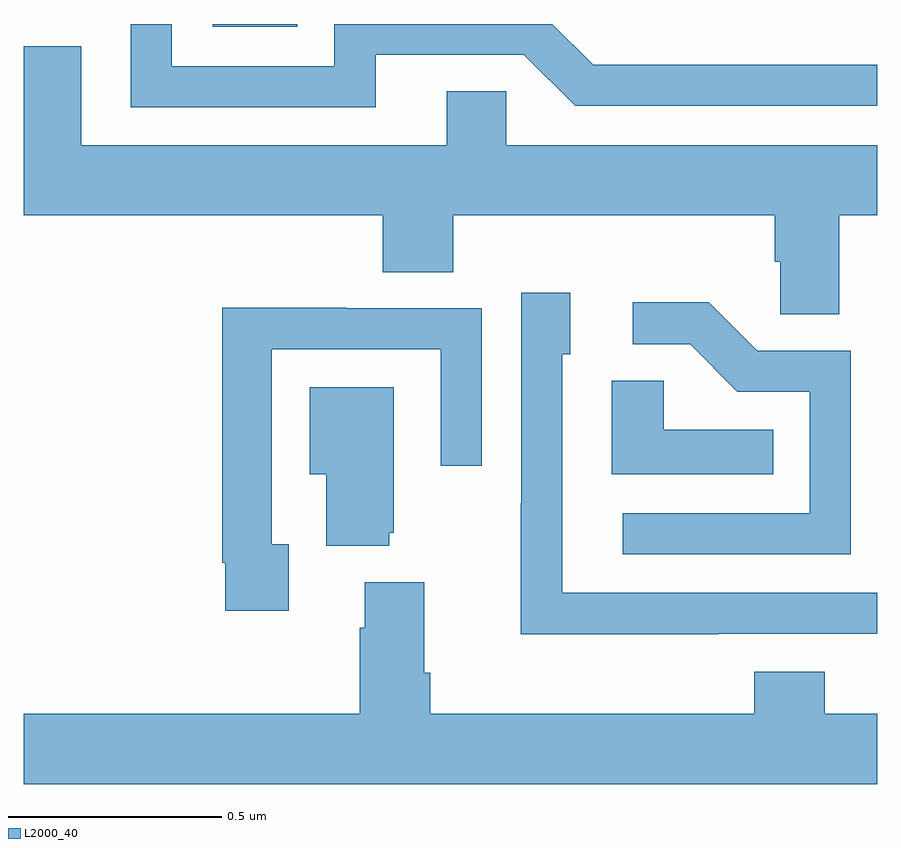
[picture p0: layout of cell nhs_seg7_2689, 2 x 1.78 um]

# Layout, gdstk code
import gdstk
lib = gdstk.Library(unit=1e-6, precision=1e-09)
def R(c, l, rs):  # rectangles x0, y0, x1, y1
    for r in rs: c.add(gdstk.rectangle(r[:2], r[2:], *l))
def P(c, l, *ps):  # polygons
    for p in ps: c.add(gdstk.Polygon(p, *l))
L2000_40 = (2000, 40)

nhs_seg7_2689 = lib.new_cell('nhs_seg7_2689')
R(nhs_seg7_2689, L2000_40, [(148.443,1064.993,148.641,1065)])
P(nhs_seg7_2689, L2000_40, [(148.825,1064.928),(149.172,1064.928),(149.292,1064.808),(150,1064.808),(150,1064.904),(149.334,1064.904),(149.238,1065),(148.728,1065),(148.728,1064.901),(148.347,1064.901),(148.347,1065),(148.251,1065),(148.251,1064.805),(148.825,1064.805)],
  [(149.911,1064.552),(150,1064.552),(150,1064.716),(149.13,1064.716),(149.13,1064.843),(148.991,1064.843),(148.991,1064.716),(148.135,1064.716),(148.135,1064.948),(148,1064.948),(148,1064.552),(148.841,1064.552),(148.841,1064.419),(149.006,1064.419),(149.006,1064.552),(149.759,1064.552),(149.759,1064.443),(149.772,1064.443),(149.772,1064.32),(149.911,1064.32)],
  [(149.627,1063.572),(150,1063.572),(150,1063.668),(149.262,1063.668),(149.262,1064.226),(149.281,1064.226),(149.281,1064.371),(149.166,1064.371),(149.166,1063.877),(149.164,1063.877),(149.164,1063.571),(149.627,1063.571)],
  [(149.937,1064.235),(149.718,1064.235),(149.605,1064.348),(149.427,1064.348),(149.427,1064.25),(149.561,1064.25),(149.672,1064.139),(149.841,1064.139),(149.841,1063.854),(149.403,1063.854),(149.403,1063.758),(149.937,1063.758)],
  [(148.621,1063.782),(148.581,1063.782),(148.581,1064.238),(148.977,1064.238),(148.977,1063.965),(149.073,1063.965),(149.073,1064.334),(148.757,1064.334),(148.757,1064.336),(148.465,1064.336),(148.465,1063.738),(148.473,1063.738),(148.473,1063.626),(148.621,1063.626)],
  [(149.756,1064.05),(149.499,1064.05),(149.499,1064.165),(149.378,1064.165),(149.378,1063.946),(149.756,1063.946)],
  [(148.856,1063.809),(148.867,1063.809),(148.867,1064.149),(148.67,1064.149),(148.67,1063.946),(148.709,1063.946),(148.709,1063.778),(148.856,1063.778)],
  [(150,1063.384),(149.876,1063.384),(149.876,1063.483),(149.711,1063.483),(149.711,1063.384),(148.952,1063.384),(148.952,1063.48),(148.939,1063.48),(148.939,1063.693),(148.799,1063.693),(148.799,1063.586),(148.787,1063.586),(148.787,1063.384),(148,1063.384),(148,1063.22),(150,1063.22)])

lib.write_gds('nhs_seg7_2689.gds')
